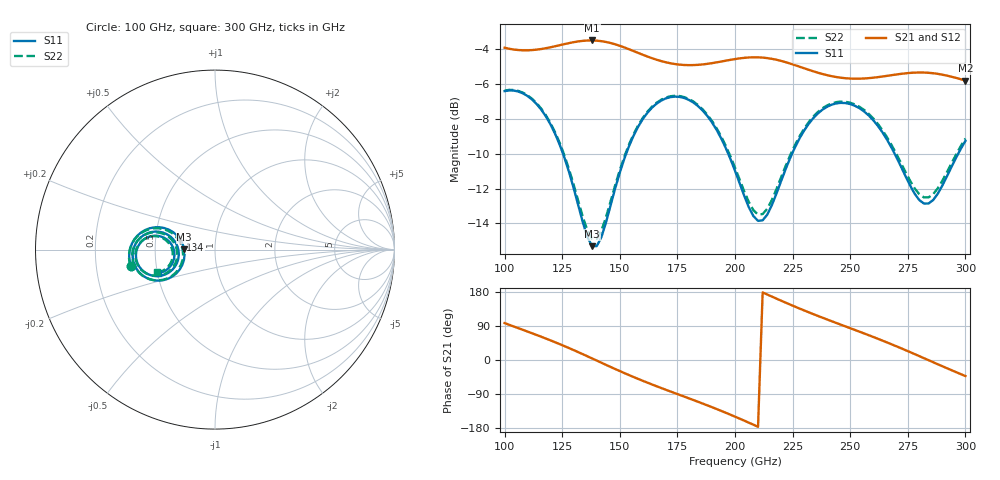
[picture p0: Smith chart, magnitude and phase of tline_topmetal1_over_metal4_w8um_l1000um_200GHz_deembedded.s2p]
! Created with skrf 2.2.0 (http://scikit-rf.org).
# GHz S DB R 50.0
! Port[1] = P1
! Port[2] = P2
!freq dBS11 angS11 dBS21 angS21 dBS12 angS12 dBS22 angS22
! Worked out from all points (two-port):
!   101 points, 100 GHz to 300 GHz, reference 50 ohm
!   highest |S21| = -3.51 dB at 138 GHz (marker M1); lowest = -5.8 dB at 300 GHz (marker M2)
!   |S21| within 3 dB of the highest: start of sweep to end of sweep
!   lowest |S11| = -15.3 dB at 138 GHz (marker M3), VSWR 1.41, Z = 35.3 + j0.0573 ohm
!   |S11| at or under -10 dB: 125.3 GHz to 152.8 GHz (27.44 GHz wide, 19.7 % of centre); 197 GHz to 224.8 GHz (27.75 GHz wide, 13.2 % of centre); 269.3 GHz to 296.9 GHz (27.6 GHz wide, 9.75 % of centre)
!   |S22| runs from -14.9 to -6.3 dB; largest |S21 - S12| = 6.9e-14
!   S11 on the Smith chart (normalised r, x): 100 GHz: 0.36, -0.08; 134 GHz: 0.67, +0.08; 300 GHz: 0.50, -0.15
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100  -6.41 -169.3  -3.93 97.4  -3.93 97.4  -6.39 -168.8
108  -6.55 178.3  -4.08 79.4  -4.08 79.4  -6.51 179.0
118  -7.88 164.3  -3.96 56.4  -3.96 56.4  -7.82 165.3
126  -10.24 157.0  -3.72 36.6  -3.72 36.6  -10.11 158.4
134  -13.95 164.1  -3.54 15.2  -3.54 15.2  -13.64 165.5
138  -15.30 179.7  -3.51 4.0  -3.51 4.0  -14.88 -179.7
142  -14.78 -161.6  -3.55 -7.2  -3.55 -7.2  -14.42 -162.3
146  -12.96 -150.7  -3.66 -18.3  -3.66 -18.3  -12.73 -151.7
154  -9.57 -149.3  -4.02 -39.8  -4.02 -39.8  -9.47 -149.9
168  -6.95 -165.8  -4.70 -74.0  -4.70 -74.0  -6.91 -165.8
184  -7.28 173.1  -4.91 -110.4  -4.91 -110.4  -7.22 173.6
200  -10.97 162.3  -4.58 -149.5  -4.58 -149.5  -10.80 163.4
208  -13.58 175.4  -4.48 -170.8  -4.48 -170.8  -13.24 176.1
212  -13.82 -171.6  -4.50 178.3  -4.50 178.3  -13.46 -171.7
224  -10.23 -153.4  -4.84 146.1  -4.84 146.1  -10.08 -154.2
234  -7.96 -160.2  -5.28 121.1  -5.28 121.1  -7.87 -160.7
252  -7.25 179.2  -5.70 79.4  -5.70 79.4  -7.18 179.4
268  -9.67 166.5  -5.50 41.3  -5.50 41.3  -9.51 167.2
276  -11.82 170.5  -5.37 20.8  -5.37 20.8  -11.55 171.1
284  -12.85 -172.7  -5.37 -0.5  -5.37 -0.5  -12.50 -173.0
292  -11.30 -158.7  -5.53 -21.8  -5.53 -21.8  -11.06 -159.8
300  -9.27 -157.6  -5.81 -42.3  -5.81 -42.3  -9.13 -158.6
